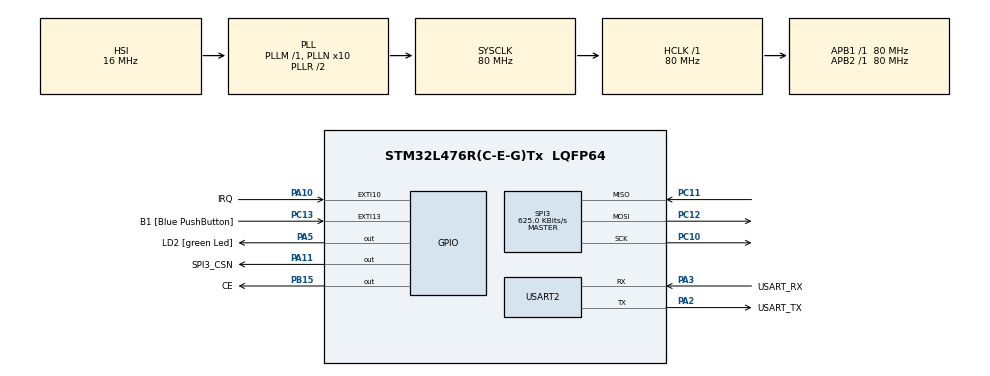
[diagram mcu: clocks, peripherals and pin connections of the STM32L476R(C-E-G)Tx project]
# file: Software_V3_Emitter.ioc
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Mcu.Family=STM32L4
Mcu.Name=STM32L476R(C-E-G)Tx
Mcu.Package=LQFP64
NVIC.EXTI15_10_IRQn=true\:0\:0\:false\:false\:true\:true\:true\:true
NVIC.PriorityGroup=NVIC_PRIORITYGROUP_4
NVIC.USART2_IRQn=true\:0\:0\:false\:false\:true\:true\:true\:true
PA10.GPIO_Label=IRQ
PA10.GPIO_ModeDefaultEXTI=GPIO_MODE_IT_FALLING
PA10.Signal=GPXTI10
PA11.GPIO_Label=SPI3_CSN
PA11.GPIO_Speed=GPIO_SPEED_FREQ_HIGH
PA11.PinState=GPIO_PIN_SET
PA11.Signal=GPIO_Output
PA13\ (JTMS-SWDIO).GPIO_Label=TMS
PA13\ (JTMS-SWDIO).Mode=Serial_Wire
PA13\ (JTMS-SWDIO).Signal=SYS_JTMS-SWDIO
PA14\ (JTCK-SWCLK).GPIO_Label=TCK
PA14\ (JTCK-SWCLK).Mode=Serial_Wire
PA14\ (JTCK-SWCLK).Signal=SYS_JTCK-SWCLK
PA2.GPIO_Label=USART_TX
PA2.GPIO_Mode=GPIO_MODE_AF_PP
PA2.GPIO_PuPd=GPIO_NOPULL
PA2.GPIO_Speed=GPIO_SPEED_FREQ_VERY_HIGH
PA2.Mode=Asynchronous
PA2.Signal=USART2_TX
PA3.GPIO_Label=USART_RX
PA3.GPIO_Mode=GPIO_MODE_AF_PP
PA3.GPIO_PuPd=GPIO_NOPULL
PA3.GPIO_Speed=GPIO_SPEED_FREQ_VERY_HIGH
PA3.Mode=Asynchronous
PA3.Signal=USART2_RX
PA5.GPIO_Label=LD2 [green Led]
PA5.GPIO_ModeDefaultOutputPP=GPIO_MODE_OUTPUT_PP
PA5.GPIO_PuPd=GPIO_NOPULL
PA5.GPIO_Speed=GPIO_SPEED_FREQ_LOW
PA5.Signal=GPIO_Output
PB15.GPIO_Label=CE
PB15.GPIO_Speed=GPIO_SPEED_FREQ_HIGH
PB15.Signal=GPIO_Output
PB3\ (JTDO-TRACESWO).GPIO_Label=SWO
PB3\ (JTDO-TRACESWO).Signal=SYS_JTDO-SWO
PC10.Mode=Full_Duplex_Master
PC10.Signal=SPI3_SCK
PC11.Mode=Full_Duplex_Master
PC11.Signal=SPI3_MISO
PC12.Mode=Full_Duplex_Master
PC12.Signal=SPI3_MOSI
PC13.GPIO_Label=B1 [Blue PushButton]
PC13.GPIO_ModeDefaultEXTI=GPIO_MODE_IT_FALLING
PC13.GPIO_PuPd=GPIO_NOPULL
PC13.Signal=GPXTI13
PC14-OSC32_IN\ (PC14).Mode=LSE-External-Oscillator
PC14-OSC32_IN\ (PC14).Signal=RCC_OSC32_IN
PC15-OSC32_OUT\ (PC15).Mode=LSE-External-Oscillator
PC15-OSC32_OUT\ (PC15).Signal=RCC_OSC32_OUT
PH0-OSC_IN\ (PH0).Signal=RCC_OSC_IN
PH1-OSC_OUT\ (PH1).Signal=RCC_OSC_OUT
ProjectManager.HeapSize=0x200
ProjectManager.StackSize=0x400
ProjectManager.TargetToolchain=STM32CubeIDE
RCC.ADCFreq_Value=64000000
RCC.AHBFreq_Value=80000000
RCC.APB1Freq_Value=80000000
RCC.APB1TimFreq_Value=80000000
RCC.APB2Freq_Value=80000000
RCC.APB2TimFreq_Value=80000000
RCC.CortexFreq_Value=80000000
RCC.HCLKFreq_Value=80000000
RCC.HSE_VALUE=8000000
RCC.HSI_VALUE=16000000
RCC.MSI_VALUE=4000000
RCC.PLLN=10
RCC.PLLSourceVirtual=RCC_PLLSOURCE_HSI
RCC.PREFETCH_ENABLE=1
RCC.SYSCLKFreq_VALUE=80000000
RCC.SYSCLKSource=RCC_SYSCLKSOURCE_PLLCLK
RCC.USBFreq_Value=64000000
RCC.VCOOutputFreq_Value=160000000
SPI3.BaudRatePrescaler=SPI_BAUDRATEPRESCALER_128
SPI3.CalculateBaudRate=625.0 KBits/s
SPI3.DataSize=SPI_DATASIZE_8BIT
SPI3.Direction=SPI_DIRECTION_2LINES
SPI3.Mode=SPI_MODE_MASTER
SPI3.VirtualType=VM_MASTER
USART2.VirtualMode-Asynchronous=VM_ASYNC
board=NUCLEO-L476RG

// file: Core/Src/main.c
/* USER CODE BEGIN Header */
/**
  ******************************************************************************
  * @file           : main.c
  * @brief          : Main program body - TRANSMITTER / RECEIVER unifie
  ******************************************************************************
  */
/* USER CODE END Header */
#include "main.h"

/* USER CODE BEGIN Includes */
#include "nrf24l01p.h"
#include <string.h>
/* USER CODE END Includes */

/* USER CODE BEGIN PD */
// =========================================================
// Choisir le mode avant de flasher :
#define TRANSMITTER
// #define RECEIVER
// =========================================================
/* USER CODE END PD */

SPI_HandleTypeDef hspi3;

UART_HandleTypeDef huart2;

/* USER CODE BEGIN PV */
#ifdef TRANSMITTER
volatile uint8_t tx_done = 0;
uint8_t uart_buf[NRF24L01P_PAYLOAD_LENGTH];
volatile uint8_t uart_received = 0;
#endif

#ifdef RECEIVER
volatile uint8_t rx_flag = 0;
uint8_t rx_buf[NRF24L01P_PAYLOAD_LENGTH];
#endif
/* USER CODE END PV */

void SystemClock_Config(void);
static void MX_GPIO_Init(void);
static void MX_USART2_UART_Init(void);
static void MX_SPI3_Init(void);
/* USER CODE BEGIN PFP */
int __io_putchar(int ch)
{
    HAL_UART_Transmit(&huart2, (uint8_t*)&ch, 1, HAL_MAX_DELAY);
    return ch;
}
/* USER CODE END PFP */

int main(void)
{

  /* MCU Configuration--------------------------------------------------------*/

  /* Reset of all peripherals, Initializes the Flash interface and the Systick. */
  HAL_Init();

  /* Configure the system clock */
  SystemClock_Config();

  /* Initialize all configured peripherals */
  MX_GPIO_Init();
  MX_USART2_UART_Init();
  MX_SPI3_Init();
  /* USER CODE BEGIN 2 */
#ifdef TRANSMITTER
    nrf24l01p_tx_init(2500, _250kbps);

    // Ne pas utiliser printf avant HAL_UART_Receive_IT !
    // Lancer immédiatement la reception IT
    memset(uart_buf, 0, NRF24L01P_PAYLOAD_LENGTH);
    HAL_UART_Receive_IT(&huart2, uart_buf, NRF24L01P_PAYLOAD_LENGTH);
#endif

#ifdef RECEIVER
    nrf24l01p_rx_init(2500, _250kbps);
    printf("=== RECEIVER pret ===\r\n");

    uint8_t status = nrf24l01p_get_status();
    printf("STATUS init = 0x%02X (attendu 0x0E)\r\n", status);
#endif
  /* USER CODE END 2 */

  /* Infinite loop */
  while (1)
  {

    /* USER CODE BEGIN 3 */

#ifdef TRANSMITTER
        if (uart_received == 1)
        {
            uart_received = 0;
            tx_done = 0;

            uint8_t payload[NRF24L01P_PAYLOAD_LENGTH];
            memcpy(payload, uart_buf, NRF24L01P_PAYLOAD_LENGTH);

            // 1. Relancer IT EN PREMIER
            memset(uart_buf, 0, NRF24L01P_PAYLOAD_LENGTH);
            HAL_UART_Receive_IT(&huart2, uart_buf, NRF24L01P_PAYLOAD_LENGTH);

            // 2. Transmettre via nRF24
            nrf24l01p_tx_transmit(payload);

            uint32_t t_start = HAL_GetTick();
            while (tx_done == 0 && (HAL_GetTick() - t_start) < 100)
            {
                HAL_Delay(1);
            }

            // 3. Reponse vers Python
            if (tx_done == 1)
            {
                HAL_GPIO_TogglePin(LD2_GPIO_Port, LD2_Pin);
                HAL_UART_Transmit(&huart2, (uint8_t*)"TX_OK\r\n", 7, 100);
            }
            else if (tx_done == 2)
            {
                HAL_UART_Transmit(&huart2, (uint8_t*)"TX_ECHEC\r\n", 10, 100);
            }
            else
            {
                HAL_UART_Transmit(&huart2, (uint8_t*)"TIMEOUT\r\n", 9, 100);
                uint8_t s = nrf24l01p_get_status();
                if (s & 0x10) { nrf24l01p_flush_tx_fifo(); nrf24l01p_clear_max_rt(); }
                if (s & 0x20) { nrf24l01p_clear_tx_ds(); }
            }
        }
        HAL_Delay(10);
#endif

#ifdef RECEIVER
        if (rx_flag == 1)
        {
            rx_flag = 0;
            printf("Recu: %s\r\n", rx_buf);
            HAL_GPIO_TogglePin(LD2_GPIO_Port, LD2_Pin);
        }
        HAL_Delay(10);
#endif

  /* USER CODE END 3 */
  }
}

void SystemClock_Config(void)
{
  RCC_OscInitTypeDef RCC_OscInitStruct = {0};
  RCC_ClkInitTypeDef RCC_ClkInitStruct = {0};

  /** Configure the main internal regulator output voltage
  */
  if (HAL_PWREx_ControlVoltageScaling(PWR_REGULATOR_VOLTAGE_SCALE1) != HAL_OK)
  {
    Error_Handler();
  }

  /** Initializes the RCC Oscillators according to the specified parameters
  * in the RCC_OscInitTypeDef structure.
  */
  RCC_OscInitStruct.OscillatorType = RCC_OSCILLATORTYPE_HSI;
  RCC_OscInitStruct.HSIState = RCC_HSI_ON;
  RCC_OscInitStruct.HSICalibrationValue = RCC_HSICALIBRATION_DEFAULT;
  RCC_OscInitStruct.PLL.PLLState = RCC_PLL_ON;
  RCC_OscInitStruct.PLL.PLLSource = RCC_PLLSOURCE_HSI;
  RCC_OscInitStruct.PLL.PLLM = 1;
  RCC_OscInitStruct.PLL.PLLN = 10;
  RCC_OscInitStruct.PLL.PLLP = RCC_PLLP_DIV7;
  RCC_OscInitStruct.PLL.PLLQ = RCC_PLLQ_DIV2;
  RCC_OscInitStruct.PLL.PLLR = RCC_PLLR_DIV2;
  if (HAL_RCC_OscConfig(&RCC_OscInitStruct) != HAL_OK)
  {
    Error_Handler();
  }

  /** Initializes the CPU, AHB and APB buses clocks
  */
  RCC_ClkInitStruct.ClockType = RCC_CLOCKTYPE_HCLK|RCC_CLOCKTYPE_SYSCLK
                              |RCC_CLOCKTYPE_PCLK1|RCC_CLOCKTYPE_PCLK2;
  RCC_ClkInitStruct.SYSCLKSource = RCC_SYSCLKSOURCE_PLLCLK;
  RCC_ClkInitStruct.AHBCLKDivider = RCC_SYSCLK_DIV1;
  RCC_ClkInitStruct.APB1CLKDivider = RCC_HCLK_DIV1;
  RCC_ClkInitStruct.APB2CLKDivider = RCC_HCLK_DIV1;

  if (HAL_RCC_ClockConfig(&RCC_ClkInitStruct, FLASH_LATENCY_4) != HAL_OK)
  {
    Error_Handler();
  }
}

static void MX_SPI3_Init(void)
{

  /* SPI3 parameter configuration*/
  hspi3.Instance = SPI3;
  hspi3.Init.Mode = SPI_MODE_MASTER;
  hspi3.Init.Direction = SPI_DIRECTION_2LINES;
  hspi3.Init.DataSize = SPI_DATASIZE_8BIT;
  hspi3.Init.CLKPolarity = SPI_POLARITY_LOW;
  hspi3.Init.CLKPhase = SPI_PHASE_1EDGE;
  hspi3.Init.NSS = SPI_NSS_SOFT;
  hspi3.Init.BaudRatePrescaler = SPI_BAUDRATEPRESCALER_128;
  hspi3.Init.FirstBit = SPI_FIRSTBIT_MSB;
  hspi3.Init.TIMode = SPI_TIMODE_DISABLE;
  hspi3.Init.CRCCalculation = SPI_CRCCALCULATION_DISABLE;
  hspi3.Init.CRCPolynomial = 7;
  hspi3.Init.CRCLength = SPI_CRC_LENGTH_DATASIZE;
  hspi3.Init.NSSPMode = SPI_NSS_PULSE_ENABLE;
  if (HAL_SPI_Init(&hspi3) != HAL_OK)
  {
    Error_Handler();
  }

}

static void MX_USART2_UART_Init(void)
{

  huart2.Instance = USART2;
  huart2.Init.BaudRate = 115200;
  huart2.Init.WordLength = UART_WORDLENGTH_8B;
  huart2.Init.StopBits = UART_STOPBITS_1;
  huart2.Init.Parity = UART_PARITY_NONE;
  huart2.Init.Mode = UART_MODE_TX_RX;
  huart2.Init.HwFlowCtl = UART_HWCONTROL_NONE;
  huart2.Init.OverSampling = UART_OVERSAMPLING_16;
  huart2.Init.OneBitSampling = UART_ONE_BIT_SAMPLE_DISABLE;
  huart2.AdvancedInit.AdvFeatureInit = UART_ADVFEATURE_NO_INIT;
  if (HAL_UART_Init(&huart2) != HAL_OK)
  {
    Error_Handler();
  }
  /* USER CODE BEGIN USART2_Init 2 */
  HAL_NVIC_SetPriority(USART2_IRQn, 1, 0);
  HAL_NVIC_EnableIRQ(USART2_IRQn);
  /* USER CODE END USART2_Init 2 */

}

static void MX_GPIO_Init(void)
{
  GPIO_InitTypeDef GPIO_InitStruct = {0};

  /* GPIO Ports Clock Enable */
  __HAL_RCC_GPIOC_CLK_ENABLE();
  __HAL_RCC_GPIOH_CLK_ENABLE();
  __HAL_RCC_GPIOA_CLK_ENABLE();
  __HAL_RCC_GPIOB_CLK_ENABLE();

  /*Configure GPIO pin Output Level */
  HAL_GPIO_WritePin(LD2_GPIO_Port, LD2_Pin, GPIO_PIN_RESET);

  /*Configure GPIO pin Output Level */
  HAL_GPIO_WritePin(CE_GPIO_Port, CE_Pin, GPIO_PIN_RESET);

  /*Configure GPIO pin Output Level */
  HAL_GPIO_WritePin(SPI3_CSN_GPIO_Port, SPI3_CSN_Pin, GPIO_PIN_SET);

  /*Configure GPIO pin : B1_Pin */
  GPIO_InitStruct.Pin = B1_Pin;
  GPIO_InitStruct.Mode = GPIO_MODE_IT_FALLING;
  GPIO_InitStruct.Pull = GPIO_NOPULL;
  HAL_GPIO_Init(B1_GPIO_Port, &GPIO_InitStruct);

  /*Configure GPIO pin : LD2_Pin */
  GPIO_InitStruct.Pin = LD2_Pin;
  GPIO_InitStruct.Mode = GPIO_MODE_OUTPUT_PP;
  GPIO_InitStruct.Pull = GPIO_NOPULL;
  GPIO_InitStruct.Speed = GPIO_SPEED_FREQ_LOW;
  HAL_GPIO_Init(LD2_GPIO_Port, &GPIO_InitStruct);

  /*Configure GPIO pin : CE_Pin */
  GPIO_InitStruct.Pin = CE_Pin;
  GPIO_InitStruct.Mode = GPIO_MODE_OUTPUT_PP;
  GPIO_InitStruct.Pull = GPIO_NOPULL;
  GPIO_InitStruct.Speed = GPIO_SPEED_FREQ_HIGH;
  HAL_GPIO_Init(CE_GPIO_Port, &GPIO_InitStruct);

  /*Configure GPIO pin : IRQ_Pin */
  GPIO_InitStruct.Pin = IRQ_Pin;
  GPIO_InitStruct.Mode = GPIO_MODE_IT_FALLING;
  GPIO_InitStruct.Pull = GPIO_NOPULL;
  HAL_GPIO_Init(IRQ_GPIO_Port, &GPIO_InitStruct);

  /*Configure GPIO pin : SPI3_CSN_Pin */
  GPIO_InitStruct.Pin = SPI3_CSN_Pin;
  GPIO_InitStruct.Mode = GPIO_MODE_OUTPUT_PP;
  GPIO_InitStruct.Pull = GPIO_NOPULL;
  GPIO_InitStruct.Speed = GPIO_SPEED_FREQ_HIGH;
  HAL_GPIO_Init(SPI3_CSN_GPIO_Port, &GPIO_InitStruct);

  /* EXTI interrupt init*/
  HAL_NVIC_SetPriority(EXTI15_10_IRQn, 0, 0);
  HAL_NVIC_EnableIRQ(EXTI15_10_IRQn);

}

/* USER CODE BEGIN 4 */
void HAL_UART_RxCpltCallback(UART_HandleTypeDef *huart)
{
    if (huart->Instance == USART2)
    {
#ifdef TRANSMITTER
        uart_received = 1;
#endif
    }
}

void HAL_GPIO_EXTI_Callback(uint16_t GPIO_Pin)
{
    if (GPIO_Pin == NRF24L01P_IRQ_PIN_NUMBER)
    {
#ifdef TRANSMITTER
        uint8_t status = nrf24l01p_get_status();
        if (status & 0x20)
        {
            nrf24l01p_clear_tx_ds();
            tx_done = 1;
        }
        else if (status & 0x10)
        {
            nrf24l01p_flush_tx_fifo();
            nrf24l01p_clear_max_rt();
            tx_done = 2;
        }
#endif

#ifdef RECEIVER
        nrf24l01p_rx_receive(rx_buf);
        rx_flag = 1;
#endif
    }
}
/* USER CODE END 4 */

void Error_Handler(void)
{
  __disable_irq();
  while (1)
  {
  }
}
